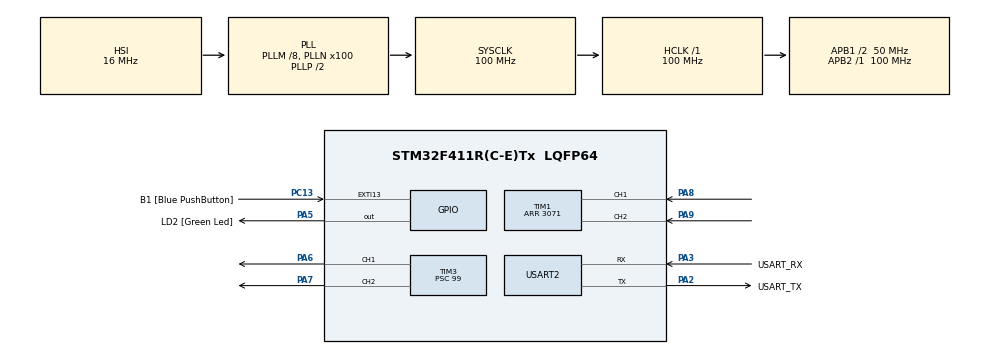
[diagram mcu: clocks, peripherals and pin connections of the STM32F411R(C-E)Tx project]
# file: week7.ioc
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Mcu.Family=STM32F4
RCC.CortexFreq_Value=100000000
PA14.GPIO_Label=TCK
TIM1.EncoderMode=TIM_ENCODERMODE_TI12
RCC.SYSCLKSource=RCC_SYSCLKSOURCE_PLLCLK
ProjectManager.StackSize=0x400
PH0\ -\ OSC_IN.Signal=RCC_OSC_IN
RCC.HCLKFreq_Value=100000000
RCC.APB2TimFreq_Value=100000000
TIM3.Period=10000
RCC.AHBFreq_Value=100000000
TIM3.Channel-PWM\ Generation1\ CH1=TIM_CHANNEL_1
RCC.HSE_VALUE=8000000
PC13-ANTI_TAMP.Signal=GPXTI13
PC14-OSC32_IN.Mode=LSE-External-Oscillator
PA14.Mode=Serial_Wire
TIM3.Prescaler=99
NVIC.TIM2_IRQn=true\:0\:0\:false\:false\:true\:true\:true
PA8.Signal=S_TIM1_CH1
SH.S_TIM3_CH1.0=TIM3_CH1,PWM Generation1 CH1
RCC.FLatency-AdvancedSettings=FLASH_LATENCY_3
Mcu.Package=LQFP64
TIM2.Prescaler=99
PA6.Signal=S_TIM3_CH1
USART2.VirtualMode=VM_ASYNC
PA2.GPIO_Label=USART_TX
RCC.APB1TimFreq_Value=100000000
TIM3.Pulse-PWM\ Generation2\ CH2=5000
TIM1.Period=3071
VP_TIM3_VS_ClockSourceINT.Mode=Internal
PA3.Signal=USART2_RX
PB3.GPIO_Label=SWO
PC15-OSC32_OUT.Mode=LSE-External-Oscillator
PC13-ANTI_TAMP.GPIO_Label=B1 [Blue PushButton]
PH1\ -\ OSC_OUT.Mode=HSE-External-Clock-Source
RCC.APB1CLKDivider=RCC_HCLK_DIV2
PC14-OSC32_IN.Signal=RCC_OSC32_IN
PA13.Signal=SYS_JTMS-SWDIO
PA3.Mode=Asynchronous
PH0\ -\ OSC_IN.Mode=HSE-External-Clock-Source
TIM3.Pulse-PWM\ Generation1\ CH1=5000
SH.S_TIM1_CH1.0=TIM1_CH1,Encoder_Interface
ProjectManager.TargetToolchain=STM32CubeIDE
PA9.Signal=S_TIM1_CH2
PC15-OSC32_OUT.Signal=RCC_OSC32_OUT
PA5.Signal=GPIO_Output
SH.S_TIM3_CH2.0=TIM3_CH2,PWM Generation2 CH2
PH1\ -\ OSC_OUT.Signal=RCC_OSC_OUT
board=NUCLEO-F411RE
RCC.VCOOutputFreq_Value=200000000
NVIC.TIM3_IRQn=true\:0\:0\:false\:false\:true\:true\:true
RCC.APB2Freq_Value=100000000
SH.S_TIM1_CH2.0=TIM1_CH2,Encoder_Interface
VP_TIM2_VS_ClockSourceINT.Mode=Internal
PA13.Mode=Serial_Wire
Mcu.Name=STM32F411R(C-E)Tx
PA13.GPIO_Label=TMS
PA2.Signal=USART2_TX
RCC.48MHZClocksFreq_Value=50000000
PB3.Signal=SYS_JTDO-SWO
RCC.SYSCLKFreq_VALUE=100000000
PA5.GPIO_Label=LD2 [Green Led]
PC13-ANTI_TAMP.GPIO_ModeDefaultEXTI=GPIO_MODE_IT_FALLING
PA14.Signal=SYS_JTCK-SWCLK
ProjectManager.HeapSize=0x200
RCC.HSI_VALUE=16000000
NVIC.PriorityGroup=NVIC_PRIORITYGROUP_0
TIM3.Channel-PWM\ Generation2\ CH2=TIM_CHANNEL_2
RCC.PLLM=8
RCC.PLLN=100
PA2.Mode=Asynchronous
RCC.APB1Freq_Value=50000000
PA3.GPIO_Label=USART_RX
PA7.Signal=S_TIM3_CH2

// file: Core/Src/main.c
/* USER CODE BEGIN Header */
/**
 ******************************************************************************
 * @file           : main.c
 * @brief          : Main program body
 ******************************************************************************
 * @attention
 *
 * <h2><center>&copy; Copyright (c) 2021 STMicroelectronics.
 * All rights reserved.</center></h2>
 *
 * This software component is licensed by ST under BSD 3-Clause license,
 * the "License"; You may not use this file except in compliance with the
 * License. You may obtain a copy of the License at:
 *                        opensource.org/licenses/BSD-3-Clause
 *
 ******************************************************************************
 */
/* USER CODE END Header */
#include "main.h"
#include <math.h>

TIM_HandleTypeDef htim1;
TIM_HandleTypeDef htim2;
TIM_HandleTypeDef htim3;

UART_HandleTypeDef huart2;

/* USER CODE BEGIN PV */
uint64_t _micros = 0;
float EncoderVel = 0;
float now_error;
float sum_error;
float RPM;
float previous_error=0.0;
float Setpoint =0;
float previous_Setpoint =0;
uint16_t PWMOut=10000 ;
float Kp =0;
float Ki =0;
float Kd =0;
uint64_t Timestamp_Encoder = 0; // save time position like stop watch   ds/dt  delta pulse
/* USER CODE END PV */

void SystemClock_Config(void);
static void MX_GPIO_Init(void);
static void MX_USART2_UART_Init(void);
static void MX_TIM1_Init(void);
static void MX_TIM2_Init(void);
static void MX_TIM3_Init(void);
/* USER CODE BEGIN PFP */
uint64_t micros();
float EncoderVelocity_Update(); // declare function

/* USER CODE END PFP */

int main(void)
{

  /* MCU Configuration--------------------------------------------------------*/

  /* Reset of all peripherals, Initializes the Flash interface and the Systick. */
  HAL_Init();

  /* Configure the system clock */
  SystemClock_Config();

  /* Initialize all configured peripherals */
  MX_GPIO_Init();
  MX_USART2_UART_Init();
  MX_TIM1_Init();
  MX_TIM2_Init();
  MX_TIM3_Init();
  /* USER CODE BEGIN 2 */
	HAL_TIM_Base_Start_IT(&htim2);
	HAL_TIM_Encoder_Start(&htim1, TIM_CHANNEL_ALL);
	HAL_TIM_Base_Start(&htim3);
	HAL_TIM_PWM_Start(&htim3, TIM_CHANNEL_1);
	HAL_TIM_PWM_Start(&htim3, TIM_CHANNEL_2);
  /* USER CODE END 2 */

  /* Infinite loop */
	while (1)
	{

    /* USER CODE BEGIN 3 */

		//RAW Read
//		if (micros() - Timestamp_Encoder >= 10000) //microsec ==> 100microsec = 1 millisec
//		{
//			Timestamp_Encoder = micros();
//			EncoderVel = EncoderVelocity_Update();
//		}

		//Add LPF? //low pass filter //
		if (micros() - Timestamp_Encoder >= 1000)
		{
			Timestamp_Encoder = micros();
			now_error = fabs(Setpoint) - fabs(EncoderVel*60.0/3072.0);
			sum_error += now_error;
			PWMOut = (Kp*now_error)+(Ki*sum_error)+(Kd*(now_error -previous_error));

			if (Setpoint >=0)
			{

				__HAL_TIM_SET_COMPARE(&htim3, TIM_CHANNEL_1, PWMOut);
				__HAL_TIM_SET_COMPARE(&htim3, TIM_CHANNEL_2, 0);
//				previous_error = now_error;
//				EncoderVel = (EncoderVel * 999 + EncoderVelocity_Update()) / 1000.0;
//				RPM =EncoderVel*60.0/3072.0;
			}
			else if (Setpoint <0)
			{

				__HAL_TIM_SET_COMPARE(&htim3, TIM_CHANNEL_1, 0);
				__HAL_TIM_SET_COMPARE(&htim3, TIM_CHANNEL_2, PWMOut);
//				previous_error = now_error;
//				EncoderVel = (EncoderVel * 999 + EncoderVelocity_Update()) / 1000.0;
//				RPM =EncoderVel*60.0/3072.0;
			}
			previous_error = now_error;
			EncoderVel = (EncoderVel * 999 + EncoderVelocity_Update()) / 1000.0;
			RPM =EncoderVel*60.0/3072.0;

		}

	}
  /* USER CODE END 3 */
}

void SystemClock_Config(void)
{
  RCC_OscInitTypeDef RCC_OscInitStruct = {0};
  RCC_ClkInitTypeDef RCC_ClkInitStruct = {0};

  /** Configure the main internal regulator output voltage
  */
  __HAL_RCC_PWR_CLK_ENABLE();
  __HAL_PWR_VOLTAGESCALING_CONFIG(PWR_REGULATOR_VOLTAGE_SCALE1);
  /** Initializes the RCC Oscillators according to the specified parameters
  * in the RCC_OscInitTypeDef structure.
  */
  RCC_OscInitStruct.OscillatorType = RCC_OSCILLATORTYPE_HSI;
  RCC_OscInitStruct.HSIState = RCC_HSI_ON;
  RCC_OscInitStruct.HSICalibrationValue = RCC_HSICALIBRATION_DEFAULT;
  RCC_OscInitStruct.PLL.PLLState = RCC_PLL_ON;
  RCC_OscInitStruct.PLL.PLLSource = RCC_PLLSOURCE_HSI;
  RCC_OscInitStruct.PLL.PLLM = 8;
  RCC_OscInitStruct.PLL.PLLN = 100;
  RCC_OscInitStruct.PLL.PLLP = RCC_PLLP_DIV2;
  RCC_OscInitStruct.PLL.PLLQ = 4;
  if (HAL_RCC_OscConfig(&RCC_OscInitStruct) != HAL_OK)
  {
    Error_Handler();
  }
  /** Initializes the CPU, AHB and APB buses clocks
  */
  RCC_ClkInitStruct.ClockType = RCC_CLOCKTYPE_HCLK|RCC_CLOCKTYPE_SYSCLK
                              |RCC_CLOCKTYPE_PCLK1|RCC_CLOCKTYPE_PCLK2;
  RCC_ClkInitStruct.SYSCLKSource = RCC_SYSCLKSOURCE_PLLCLK;
  RCC_ClkInitStruct.AHBCLKDivider = RCC_SYSCLK_DIV1;
  RCC_ClkInitStruct.APB1CLKDivider = RCC_HCLK_DIV2;
  RCC_ClkInitStruct.APB2CLKDivider = RCC_HCLK_DIV1;

  if (HAL_RCC_ClockConfig(&RCC_ClkInitStruct, FLASH_LATENCY_3) != HAL_OK)
  {
    Error_Handler();
  }
}

static void MX_TIM1_Init(void)
{

  TIM_Encoder_InitTypeDef sConfig = {0};
  TIM_MasterConfigTypeDef sMasterConfig = {0};

  htim1.Instance = TIM1;
  htim1.Init.Prescaler = 0;
  htim1.Init.CounterMode = TIM_COUNTERMODE_UP;
  htim1.Init.Period = 3071;
  htim1.Init.ClockDivision = TIM_CLOCKDIVISION_DIV1;
  htim1.Init.RepetitionCounter = 0;
  htim1.Init.AutoReloadPreload = TIM_AUTORELOAD_PRELOAD_DISABLE;
  sConfig.EncoderMode = TIM_ENCODERMODE_TI12;
  sConfig.IC1Polarity = TIM_ICPOLARITY_RISING;
  sConfig.IC1Selection = TIM_ICSELECTION_DIRECTTI;
  sConfig.IC1Prescaler = TIM_ICPSC_DIV1;
  sConfig.IC1Filter = 0;
  sConfig.IC2Polarity = TIM_ICPOLARITY_RISING;
  sConfig.IC2Selection = TIM_ICSELECTION_DIRECTTI;
  sConfig.IC2Prescaler = TIM_ICPSC_DIV1;
  sConfig.IC2Filter = 0;
  if (HAL_TIM_Encoder_Init(&htim1, &sConfig) != HAL_OK)
  {
    Error_Handler();
  }
  sMasterConfig.MasterOutputTrigger = TIM_TRGO_RESET;
  sMasterConfig.MasterSlaveMode = TIM_MASTERSLAVEMODE_DISABLE;
  if (HAL_TIMEx_MasterConfigSynchronization(&htim1, &sMasterConfig) != HAL_OK)
  {
    Error_Handler();
  }

}

static void MX_TIM2_Init(void)
{

  TIM_ClockConfigTypeDef sClockSourceConfig = {0};
  TIM_MasterConfigTypeDef sMasterConfig = {0};

  htim2.Instance = TIM2;
  htim2.Init.Prescaler = 99;
  htim2.Init.CounterMode = TIM_COUNTERMODE_UP;
  htim2.Init.Period = 4294967295;
  htim2.Init.ClockDivision = TIM_CLOCKDIVISION_DIV1;
  htim2.Init.AutoReloadPreload = TIM_AUTORELOAD_PRELOAD_DISABLE;
  if (HAL_TIM_Base_Init(&htim2) != HAL_OK)
  {
    Error_Handler();
  }
  sClockSourceConfig.ClockSource = TIM_CLOCKSOURCE_INTERNAL;
  if (HAL_TIM_ConfigClockSource(&htim2, &sClockSourceConfig) != HAL_OK)
  {
    Error_Handler();
  }
  sMasterConfig.MasterOutputTrigger = TIM_TRGO_RESET;
  sMasterConfig.MasterSlaveMode = TIM_MASTERSLAVEMODE_DISABLE;
  if (HAL_TIMEx_MasterConfigSynchronization(&htim2, &sMasterConfig) != HAL_OK)
  {
    Error_Handler();
  }

}

static void MX_TIM3_Init(void)
{

  TIM_ClockConfigTypeDef sClockSourceConfig = {0};
  TIM_MasterConfigTypeDef sMasterConfig = {0};
  TIM_OC_InitTypeDef sConfigOC = {0};

  htim3.Instance = TIM3;
  htim3.Init.Prescaler = 99;
  htim3.Init.CounterMode = TIM_COUNTERMODE_UP;
  htim3.Init.Period = 10000;
  htim3.Init.ClockDivision = TIM_CLOCKDIVISION_DIV1;
  htim3.Init.AutoReloadPreload = TIM_AUTORELOAD_PRELOAD_DISABLE;
  if (HAL_TIM_Base_Init(&htim3) != HAL_OK)
  {
    Error_Handler();
  }
  sClockSourceConfig.ClockSource = TIM_CLOCKSOURCE_INTERNAL;
  if (HAL_TIM_ConfigClockSource(&htim3, &sClockSourceConfig) != HAL_OK)
  {
    Error_Handler();
  }
  if (HAL_TIM_PWM_Init(&htim3) != HAL_OK)
  {
    Error_Handler();
  }
  sMasterConfig.MasterOutputTrigger = TIM_TRGO_RESET;
  sMasterConfig.MasterSlaveMode = TIM_MASTERSLAVEMODE_DISABLE;
  if (HAL_TIMEx_MasterConfigSynchronization(&htim3, &sMasterConfig) != HAL_OK)
  {
    Error_Handler();
  }
  sConfigOC.OCMode = TIM_OCMODE_PWM1;
  sConfigOC.Pulse = 5000;
  sConfigOC.OCPolarity = TIM_OCPOLARITY_HIGH;
  sConfigOC.OCFastMode = TIM_OCFAST_DISABLE;
  if (HAL_TIM_PWM_ConfigChannel(&htim3, &sConfigOC, TIM_CHANNEL_1) != HAL_OK)
  {
    Error_Handler();
  }
  if (HAL_TIM_PWM_ConfigChannel(&htim3, &sConfigOC, TIM_CHANNEL_2) != HAL_OK)
  {
    Error_Handler();
  }
  HAL_TIM_MspPostInit(&htim3);

}

static void MX_USART2_UART_Init(void)
{

  huart2.Instance = USART2;
  huart2.Init.BaudRate = 115200;
  huart2.Init.WordLength = UART_WORDLENGTH_8B;
  huart2.Init.StopBits = UART_STOPBITS_1;
  huart2.Init.Parity = UART_PARITY_NONE;
  huart2.Init.Mode = UART_MODE_TX_RX;
  huart2.Init.HwFlowCtl = UART_HWCONTROL_NONE;
  huart2.Init.OverSampling = UART_OVERSAMPLING_16;
  if (HAL_UART_Init(&huart2) != HAL_OK)
  {
    Error_Handler();
  }

}

static void MX_GPIO_Init(void)
{
  GPIO_InitTypeDef GPIO_InitStruct = {0};

  /* GPIO Ports Clock Enable */
  __HAL_RCC_GPIOC_CLK_ENABLE();
  __HAL_RCC_GPIOH_CLK_ENABLE();
  __HAL_RCC_GPIOA_CLK_ENABLE();
  __HAL_RCC_GPIOB_CLK_ENABLE();

  /*Configure GPIO pin Output Level */
  HAL_GPIO_WritePin(LD2_GPIO_Port, LD2_Pin, GPIO_PIN_RESET);

  /*Configure GPIO pin : B1_Pin */
  GPIO_InitStruct.Pin = B1_Pin;
  GPIO_InitStruct.Mode = GPIO_MODE_IT_FALLING;
  GPIO_InitStruct.Pull = GPIO_NOPULL;
  HAL_GPIO_Init(B1_GPIO_Port, &GPIO_InitStruct);

  /*Configure GPIO pin : LD2_Pin */
  GPIO_InitStruct.Pin = LD2_Pin;
  GPIO_InitStruct.Mode = GPIO_MODE_OUTPUT_PP;
  GPIO_InitStruct.Pull = GPIO_NOPULL;
  GPIO_InitStruct.Speed = GPIO_SPEED_FREQ_LOW;
  HAL_GPIO_Init(LD2_GPIO_Port, &GPIO_InitStruct);

}

/* USER CODE BEGIN 4 */
#define  HTIM_ENCODER htim1
#define  MAX_SUBPOSITION_OVERFLOW 1536
#define  MAX_ENCODER_PERIOD 3072

float EncoderVelocity_Update()  //Angular velocity
{
	//Save Last state
	static uint32_t EncoderLastPosition = 0; // save and can use for next round
	static uint64_t EncoderLastTimestamp = 0; // save and can use for next round

	//read data
	uint32_t EncoderNowPosition = HTIM_ENCODER.Instance->CNT;// same as htim1.Instance->CNT
	uint64_t EncoderNowTimestamp = micros();

	int32_t EncoderPositionDiff;
	uint64_t EncoderTimeDiff;

	EncoderTimeDiff = EncoderNowTimestamp - EncoderLastTimestamp;
	EncoderPositionDiff = EncoderNowPosition - EncoderLastPosition;  //

	//compensate overflow and underflow
	if (EncoderPositionDiff >= 1536)// guess 1536/2 = 768 /12 =64
	{
		EncoderPositionDiff -= 3072;  //
	}
	else if (-EncoderPositionDiff >= 1536) //MAX_SUBPOSITION_OVERFLOW
	{
		EncoderPositionDiff += 3072; //MAX_ENCODER_PERIOD
	}

	//Update Position and time
	EncoderLastPosition = EncoderNowPosition;
	EncoderLastTimestamp = EncoderNowTimestamp;

	//Calculate velocity
	//EncoderTimeDiff is in uS
	return (EncoderPositionDiff * 1000000) / (float) EncoderTimeDiff; // get angular velocity in scale of pulse per second

}

void HAL_TIM_PeriodElapsedCallback(TIM_HandleTypeDef *htim)
{
	if (htim == &htim2)
	{
		_micros += 4294967295;
	}
}
uint64_t micros()
{
	return _micros + htim2.Instance->CNT;
}
/* USER CODE END 4 */

void Error_Handler(void)
{
	__disable_irq();
	while (1)
	{
	}
}

/************************ (C) COPYRIGHT STMicroelectronics *****END OF FILE****/
